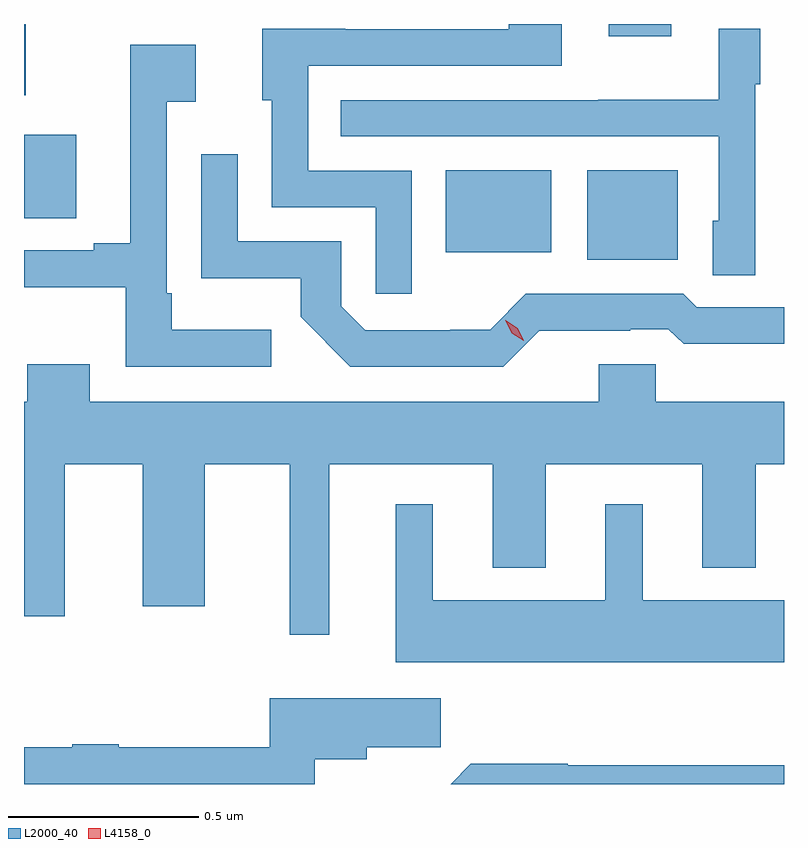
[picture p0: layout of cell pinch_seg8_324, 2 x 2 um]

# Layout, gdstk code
import gdstk
lib = gdstk.Library(unit=1e-6, precision=1e-09)
def R(c, l, rs):  # rectangles x0, y0, x1, y1
    for r in rs: c.add(gdstk.rectangle(r[:2], r[2:], *l))
def P(c, l, *ps):  # polygons
    for p in ps: c.add(gdstk.Polygon(p, *l))
L2000_40 = (2000, 40)
L4158_0 = (4158, 0)

pinch_seg8_324 = lib.new_cell('pinch_seg8_324')
R(pinch_seg8_324, L2000_40, [(609.734,1133.021,609.973,1133.257), (609.362,1133.042,609.64,1133.257), (608.252,1133.131,608.389,1133.35), (608.252,1133.454,608.257,1133.642), (609.791,1133.61,609.955,1133.642)])
P(pinch_seg8_324, L2000_40, [(609.273,1133.256),(609,1133.256),(609,1133.532),(609.667,1133.532),(609.667,1133.642),(609.527,1133.642),(609.527,1133.628),(609.097,1133.628),(609.097,1133.63),(608.879,1133.63),(608.879,1133.442),(608.904,1133.442),(608.904,1133.16),(609.177,1133.16),(609.177,1132.932),(609.273,1132.932)],
  [(610.176,1133.484),(610.189,1133.484),(610.189,1133.629),(610.08,1133.629),(610.08,1133.443),(609.763,1133.443),(609.763,1133.442),(609.085,1133.442),(609.085,1133.346),(610.08,1133.346),(610.08,1133.124),(610.064,1133.124),(610.064,1132.981),(610.176,1132.981)],
  [(608.902,1132.837),(608.641,1132.837),(608.641,1132.933),(608.628,1132.933),(608.628,1133.438),(608.704,1133.438),(608.704,1133.587),(608.531,1133.587),(608.531,1133.065),(608.435,1133.065),(608.435,1133.046),(608.252,1133.046),(608.252,1132.949),(608.52,1132.949),(608.52,1132.74),(608.902,1132.74)],
  [(609.608,1132.835),(609.848,1132.835),(609.848,1132.839),(609.948,1132.839),(609.988,1132.8),(610.252,1132.8),(610.252,1132.896),(610.023,1132.896),(609.987,1132.932),(609.573,1132.932),(609.479,1132.838),(609.374,1132.838),(609.374,1132.836),(609.15,1132.836),(609.087,1132.899),(609.087,1133.07),(608.814,1133.07),(608.814,1133.299),(608.718,1133.299),(608.718,1132.973),(608.98,1132.973),(608.98,1132.871),(609.11,1132.74),(609.513,1132.74)],
  [(609.055,1132.484),(609.485,1132.484),(609.485,1132.211),(609.625,1132.211),(609.625,1132.484),(610.037,1132.484),(610.037,1132.211),(610.177,1132.211),(610.177,1132.484),(610.252,1132.484),(610.252,1132.648),(609.915,1132.648),(609.915,1132.746),(609.764,1132.746),(609.764,1132.648),(608.425,1132.648),(608.425,1132.747),(608.261,1132.747),(608.261,1132.648),(608.252,1132.648),(608.252,1132.083),(608.359,1132.083),(608.359,1132.484),(608.564,1132.484),(608.564,1132.11),(608.728,1132.11),(608.728,1132.484),(608.951,1132.484),(608.951,1132.035),(609.055,1132.035)],
  [(610.252,1132.126),(609.88,1132.126),(609.88,1132.378),(609.782,1132.378),(609.782,1132.126),(609.328,1132.126),(609.328,1132.378),(609.23,1132.378),(609.23,1131.962),(610.252,1131.962)],
  [(609.017,1131.707),(609.154,1131.707),(609.154,1131.739),(609.349,1131.739),(609.349,1131.868),(608.899,1131.868),(608.899,1131.739),(608.501,1131.739),(608.501,1131.746),(608.379,1131.746),(608.379,1131.739),(608.252,1131.739),(608.252,1131.642),(609.017,1131.642)],
  [(610.252,1131.692),(609.683,1131.692),(609.683,1131.695),(609.428,1131.695),(609.375,1131.642),(610.252,1131.642)])
P(pinch_seg8_324, L4158_0, [(609.567,1132.808),(609.536,1132.828),(609.519,1132.862),(609.519,1132.862),(609.52,1132.862),(609.551,1132.841),(609.567,1132.808),(609.567,1132.808)])

lib.write_gds('pinch_seg8_324.gds')
